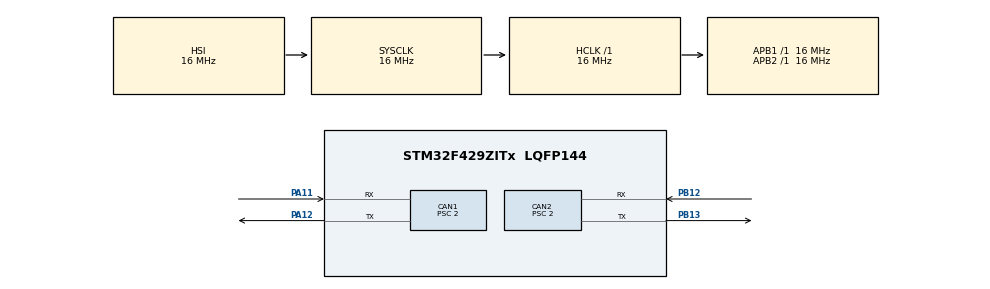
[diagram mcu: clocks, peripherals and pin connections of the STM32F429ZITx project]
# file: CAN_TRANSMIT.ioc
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CAN1.AWUM=ENABLE
CAN1.BS1=CAN_BS1_11TQ
CAN1.BS2=CAN_BS2_4TQ
CAN1.CalculateBaudRate=500000
CAN1.CalculateTimeBit=2000
CAN1.CalculateTimeQuantum=125.0
CAN1.NART=DISABLE
CAN1.Prescaler=2
CAN2.AWUM=DISABLE
CAN2.BS1=CAN_BS1_11TQ
CAN2.BS2=CAN_BS2_4TQ
CAN2.CalculateBaudRate=500000
CAN2.CalculateTimeBit=2000
CAN2.CalculateTimeQuantum=125.0
CAN2.Prescaler=2
Mcu.Family=STM32F4
Mcu.Name=STM32F429ZITx
Mcu.Package=LQFP144
NVIC.CAN1_TX_IRQn=true\:0\:0\:false\:false\:true\:true\:true\:true
NVIC.CAN2_RX0_IRQn=true\:0\:0\:false\:false\:true\:true\:true\:true
NVIC.CAN2_RX1_IRQn=true\:0\:0\:false\:false\:true\:true\:true\:true
NVIC.CAN2_SCE_IRQn=true\:0\:0\:false\:false\:true\:true\:true\:true
NVIC.PriorityGroup=NVIC_PRIORITYGROUP_4
NVIC.TIM5_IRQn=true\:0\:0\:false\:false\:true\:true\:true\:true
PA11.Mode=CAN_Activate
PA11.Signal=CAN1_RX
PA12.Mode=CAN_Activate
PA12.Signal=CAN1_TX
PB12.Mode=CAN_Activate
PB12.Signal=CAN2_RX
PB13.Mode=CAN_Activate
PB13.Signal=CAN2_TX
ProjectManager.HeapSize=0x200
ProjectManager.StackSize=0x400
ProjectManager.TargetToolchain=STM32CubeIDE
RCC.AHBFreq_Value=16000000
RCC.APB1Freq_Value=16000000
RCC.APB2Freq_Value=16000000
RCC.CortexFreq_Value=16000000
RCC.HSE_VALUE=25000000
RCC.HSI_VALUE=16000000
RCC.LSE_VALUE=32768
RCC.SYSCLKFreq_VALUE=16000000
RCC.VCOOutputFreq_Value=192000000
TIM5.Period=49
TIM5.Prescaler=15999
VP_TIM5_VS_ClockSourceITR.Mode=TriggerSource_ITR0
board=custom

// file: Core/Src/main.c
/* USER CODE BEGIN Header */
/**
  ******************************************************************************
  * @file           : main.c
  * @brief          : Main program body
  ******************************************************************************
  * @attention
  *
  * Copyright (c) 2024 STMicroelectronics.
  * All rights reserved.
  *
  * This software is licensed under terms that can be found in the LICENSE file
  * in the root directory of this software component.
  * If no LICENSE file comes with this software, it is provided AS-IS.
  *
  ******************************************************************************
  */
/* USER CODE END Header */
#include "main.h"

CAN_HandleTypeDef hcan1;
CAN_HandleTypeDef hcan2;

TIM_HandleTypeDef htim5;

void SystemClock_Config(void);
static void MX_GPIO_Init(void);
static void MX_TIM5_Init(void);
static void MX_CAN2_Init(void);
static void MX_CAN1_Init(void);

/* USER CODE BEGIN 0 */
CAN_TxHeaderTypeDef TxHeader;
uint32_t TxMailbox;
uint8_t TxData[8] = {0x11, 0x22, 0x33, 0x44, 0x55, 0x66, 0x77, 0x88};
uint8_t cycle1 = 0;
uint8_t cycle2 = 0;
uint8_t cycle3 = 0;
int a=0,b=0,c=0,d=0;

/* USER CODE END 0 */

int main(void)
{

  /* MCU Configuration--------------------------------------------------------*/

  /* Reset of all peripherals, Initializes the Flash interface and the Systick. */
  HAL_Init();

  /* Configure the system clock */
  SystemClock_Config();

  /* Initialize all configured peripherals */
  MX_GPIO_Init();
  MX_TIM5_Init();
  MX_CAN2_Init();
  MX_CAN1_Init();
  /* USER CODE BEGIN 2 */

  HAL_TIM_Base_Start_IT(&htim5);
  /* USER CODE BEGIN 2 */
a++;
  if (HAL_CAN_Start(&hcan2) != HAL_OK) {   // changed hcan1 to hcan2

  Error_Handler();
  }
//  if (HAL_CAN_Start(&hcan2) != HAL_OK) {
//
//  Error_Handler();
//  }

  else{
	  b++;

  }
  HAL_Delay(100);
	TxHeader.StdId = 0x321;
	TxHeader.RTR = CAN_RTR_DATA;
	TxHeader.IDE = CAN_ID_STD;
	TxHeader.DLC = 8;
	TxHeader.TransmitGlobalTime = DISABLE;

  /* USER CODE END 2 */

  /* Infinite loop */
  while (1)
  {

  }
}

void SystemClock_Config(void)
{
  RCC_OscInitTypeDef RCC_OscInitStruct = {0};
  RCC_ClkInitTypeDef RCC_ClkInitStruct = {0};

  /** Configure the main internal regulator output voltage
  */
  __HAL_RCC_PWR_CLK_ENABLE();
  __HAL_PWR_VOLTAGESCALING_CONFIG(PWR_REGULATOR_VOLTAGE_SCALE3);

  /** Initializes the RCC Oscillators according to the specified parameters
  * in the RCC_OscInitTypeDef structure.
  */
  RCC_OscInitStruct.OscillatorType = RCC_OSCILLATORTYPE_HSI;
  RCC_OscInitStruct.HSIState = RCC_HSI_ON;
  RCC_OscInitStruct.HSICalibrationValue = RCC_HSICALIBRATION_DEFAULT;
  RCC_OscInitStruct.PLL.PLLState = RCC_PLL_NONE;
  if (HAL_RCC_OscConfig(&RCC_OscInitStruct) != HAL_OK)
  {
    Error_Handler();
  }

  /** Initializes the CPU, AHB and APB buses clocks
  */
  RCC_ClkInitStruct.ClockType = RCC_CLOCKTYPE_HCLK|RCC_CLOCKTYPE_SYSCLK
                              |RCC_CLOCKTYPE_PCLK1|RCC_CLOCKTYPE_PCLK2;
  RCC_ClkInitStruct.SYSCLKSource = RCC_SYSCLKSOURCE_HSI;
  RCC_ClkInitStruct.AHBCLKDivider = RCC_SYSCLK_DIV1;
  RCC_ClkInitStruct.APB1CLKDivider = RCC_HCLK_DIV1;
  RCC_ClkInitStruct.APB2CLKDivider = RCC_HCLK_DIV1;

  if (HAL_RCC_ClockConfig(&RCC_ClkInitStruct, FLASH_LATENCY_0) != HAL_OK)
  {
    Error_Handler();
  }
}

static void MX_CAN1_Init(void)
{

  hcan1.Instance = CAN1;
  hcan1.Init.Prescaler = 2;
  hcan1.Init.Mode = CAN_MODE_NORMAL;
  hcan1.Init.SyncJumpWidth = CAN_SJW_1TQ;
  hcan1.Init.TimeSeg1 = CAN_BS1_11TQ;
  hcan1.Init.TimeSeg2 = CAN_BS2_4TQ;
  hcan1.Init.TimeTriggeredMode = DISABLE;
  hcan1.Init.AutoBusOff = DISABLE;
  hcan1.Init.AutoWakeUp = ENABLE;
  hcan1.Init.AutoRetransmission = DISABLE;
  hcan1.Init.ReceiveFifoLocked = DISABLE;
  hcan1.Init.TransmitFifoPriority = DISABLE;
  if (HAL_CAN_Init(&hcan1) != HAL_OK)
  {
    Error_Handler();
  }
  /* USER CODE BEGIN CAN1_Init 2 */
  CAN_FilterTypeDef canfilterconfig;

     canfilterconfig.FilterActivation = CAN_FILTER_ENABLE;//
     canfilterconfig.FilterBank = 10	;  // anything between 0 to SlaveStartFilterBank
     canfilterconfig.FilterFIFOAssignment = CAN_RX_FIFO0;//
     canfilterconfig.FilterIdHigh = 0;
     canfilterconfig.FilterIdLow = 0x0000;
     canfilterconfig.FilterMaskIdHigh = 0;
     canfilterconfig.FilterMaskIdLow = 0x0000;
     canfilterconfig.FilterMode = CAN_FILTERMODE_IDMASK;//
     canfilterconfig.FilterScale = CAN_FILTERSCALE_32BIT;//
     canfilterconfig.SlaveStartFilterBank = 13;  // 13 to 27 are assigned to slave CAN (CAN 2) OR 0 to 12 are assgned to CAN1

     HAL_CAN_ConfigFilter(&hcan1, &canfilterconfig);
  /* USER CODE END CAN1_Init 2 */

}

static void MX_CAN2_Init(void)
{

  hcan2.Instance = CAN2;
  hcan2.Init.Prescaler = 2;
  hcan2.Init.Mode = CAN_MODE_NORMAL;
  hcan2.Init.SyncJumpWidth = CAN_SJW_1TQ;
  hcan2.Init.TimeSeg1 = CAN_BS1_11TQ;
  hcan2.Init.TimeSeg2 = CAN_BS2_4TQ;
  hcan2.Init.TimeTriggeredMode = DISABLE;
  hcan2.Init.AutoBusOff = DISABLE;
  hcan2.Init.AutoWakeUp = DISABLE;
  hcan2.Init.AutoRetransmission = DISABLE;
  hcan2.Init.ReceiveFifoLocked = DISABLE;
  hcan2.Init.TransmitFifoPriority = DISABLE;
  if (HAL_CAN_Init(&hcan2) != HAL_OK)
  {
    Error_Handler();
  }
  /* USER CODE BEGIN CAN2_Init 2 */
  CAN_FilterTypeDef canfilterconfig;

     canfilterconfig.FilterActivation = CAN_FILTER_ENABLE;//
     canfilterconfig.FilterBank = 15	;  // anything between 0 to SlaveStartFilterBank
     canfilterconfig.FilterFIFOAssignment = CAN_RX_FIFO0;//
     canfilterconfig.FilterIdHigh = 0;
     canfilterconfig.FilterIdLow = 0x0000;
     canfilterconfig.FilterMaskIdHigh = 0;
     canfilterconfig.FilterMaskIdLow = 0x0000;
     canfilterconfig.FilterMode = CAN_FILTERMODE_IDMASK;//
     canfilterconfig.FilterScale = CAN_FILTERSCALE_32BIT;//
     canfilterconfig.SlaveStartFilterBank = 13;  // 13 to 27 are assigned to slave CAN (CAN 2) OR 0 to 12 are assgned to CAN1

     HAL_CAN_ConfigFilter(&hcan2, &canfilterconfig);
  /* USER CODE END CAN2_Init 2 */

}

static void MX_TIM5_Init(void)
{

  /* USER CODE BEGIN TIM5_Init 0 */
																			// Using for CANTx transmission frequency, Delay of 30msec
  /* USER CODE END TIM5_Init 0 */

  TIM_SlaveConfigTypeDef sSlaveConfig = {0};
  TIM_MasterConfigTypeDef sMasterConfig = {0};

  htim5.Instance = TIM5;
  htim5.Init.Prescaler = 15999;
  htim5.Init.CounterMode = TIM_COUNTERMODE_UP;
  htim5.Init.Period = 49;
  htim5.Init.ClockDivision = TIM_CLOCKDIVISION_DIV1;
  htim5.Init.AutoReloadPreload = TIM_AUTORELOAD_PRELOAD_DISABLE;
  if (HAL_TIM_Base_Init(&htim5) != HAL_OK)
  {
    Error_Handler();
  }
  sSlaveConfig.SlaveMode = TIM_SLAVEMODE_DISABLE;
  sSlaveConfig.InputTrigger = TIM_TS_ITR0;
  if (HAL_TIM_SlaveConfigSynchro(&htim5, &sSlaveConfig) != HAL_OK)
  {
    Error_Handler();
  }
  sMasterConfig.MasterOutputTrigger = TIM_TRGO_RESET;
  sMasterConfig.MasterSlaveMode = TIM_MASTERSLAVEMODE_DISABLE;
  if (HAL_TIMEx_MasterConfigSynchronization(&htim5, &sMasterConfig) != HAL_OK)
  {
    Error_Handler();
  }

}

static void MX_GPIO_Init(void)
{

  /* GPIO Ports Clock Enable */
  __HAL_RCC_GPIOB_CLK_ENABLE();
  __HAL_RCC_GPIOA_CLK_ENABLE();

}

/* USER CODE BEGIN 4 */
void HAL_TIM_PeriodElapsedCallback(TIM_HandleTypeDef *htim){
	cycle1++;
	if(htim == &htim5){
		c++;
		cycle2++;
		  if (HAL_CAN_AddTxMessage(&hcan2, &TxHeader, TxData, &TxMailbox) != HAL_OK) {   //changed hcan1 to hcan2
			 Error_Handler();

		 }
		 else{d++;

		 }
		  cycle3++;

	}
}
//void HAL_TIM_PeriodElapsedCallback(TIM_HandleTypeDef *htim){
//	cycle1++;
//	if(htim == &htim5){
//		c++;
//		cycle2++;
//		  if (HAL_CAN_AddTxMessage(&hcan2, &TxHeader, TxData, &TxMailbox) != HAL_OK) {
////			 Error_Handler();
//
//		 }
//		 else{d++;
//
//		 }
//		  cycle3++;
//
//
//	}
//}
/* USER CODE END 4 */

void Error_Handler(void)
{
  __disable_irq();
 while (1)
  {
  }
}
